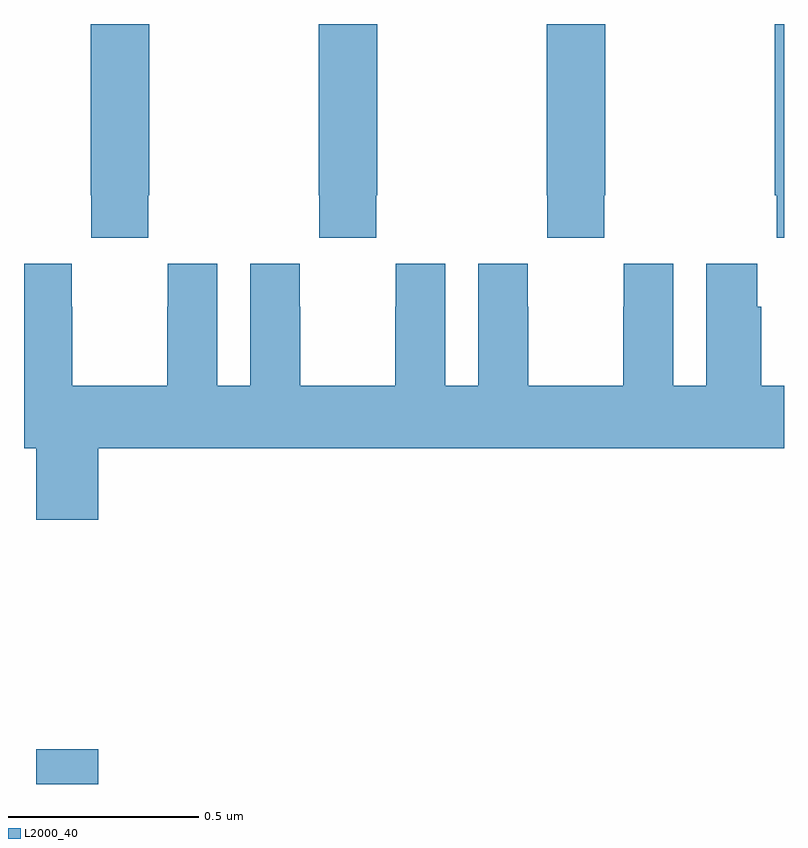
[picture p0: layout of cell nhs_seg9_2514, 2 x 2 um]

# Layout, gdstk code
import gdstk
lib = gdstk.Library(unit=1e-6, precision=1e-09)
def R(c, l, rs):  # rectangles x0, y0, x1, y1
    for r in rs: c.add(gdstk.rectangle(r[:2], r[2:], *l))
def P(c, l, *ps):  # polygons
    for p in ps: c.add(gdstk.Polygon(p, *l))
L2000_40 = (2000, 40)

nhs_seg9_2514 = lib.new_cell('nhs_seg9_2514')
R(nhs_seg9_2514, L2000_40, [(141.032,1231.5,141.196,1231.591)])
P(nhs_seg9_2514, L2000_40, [(141.327,1233.049),(141.33,1233.049),(141.33,1233.5),(141.175,1233.5),(141.175,1233.049),(141.177,1233.049),(141.177,1232.937),(141.327,1232.937)],
  [(141.927,1233.049),(141.93,1233.049),(141.93,1233.5),(141.775,1233.5),(141.775,1233.049),(141.777,1233.049),(141.777,1232.937),(141.927,1232.937)],
  [(142.527,1233.049),(142.53,1233.049),(142.53,1233.5),(142.375,1233.5),(142.375,1233.049),(142.377,1233.049),(142.377,1232.937),(142.527,1232.937)],
  [(143,1233.5),(142.975,1233.5),(142.975,1233.049),(142.981,1233.049),(142.981,1232.937),(143,1232.937)],
  [(141.196,1232.384),(143,1232.384),(143,1232.548),(142.94,1232.548),(142.94,1232.756),(142.93,1232.756),(142.93,1232.869),(142.796,1232.869),(142.796,1232.548),(142.708,1232.548),(142.708,1232.869),(142.578,1232.869),(142.578,1232.756),(142.577,1232.756),(142.577,1232.548),(142.327,1232.548),(142.327,1232.756),(142.326,1232.756),(142.326,1232.869),(142.196,1232.869),(142.196,1232.548),(142.108,1232.548),(142.108,1232.869),(141.978,1232.869),(141.978,1232.756),(141.977,1232.756),(141.977,1232.548),(141.727,1232.548),(141.727,1232.756),(141.726,1232.756),(141.726,1232.869),(141.596,1232.869),(141.596,1232.548),(141.508,1232.548),(141.508,1232.869),(141.378,1232.869),(141.378,1232.756),(141.377,1232.756),(141.377,1232.548),(141.127,1232.548),(141.127,1232.756),(141.126,1232.756),(141.126,1232.869),(141,1232.869),(141,1232.384),(141.032,1232.384),(141.032,1232.196),(141.196,1232.196)])

lib.write_gds('nhs_seg9_2514.gds')
